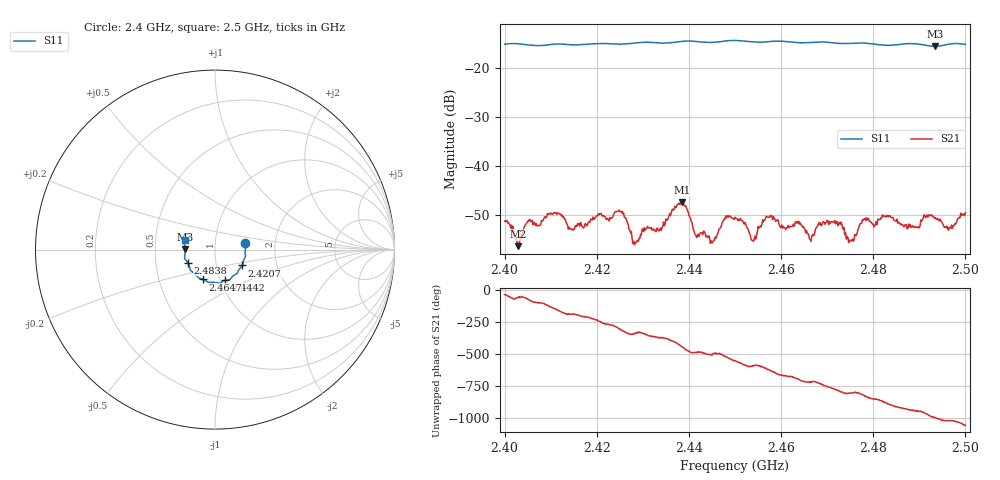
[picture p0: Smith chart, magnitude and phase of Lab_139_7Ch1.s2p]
# Hz S RI R 50
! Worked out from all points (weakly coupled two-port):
!   601 points, 2.4 GHz to 2.5 GHz, reference 50 ohm
!   highest |S21| = -47.44 dB at 2.4385 GHz (marker M1); lowest = -56.4 dB at 2.403 GHz (marker M2)
!   lowest |S11| = -15.6 dB at 2.4935 GHz (marker M3), VSWR 1.40, Z = 35.8 + j0.141 ohm
!   |S11| at or under -10 dB: start of sweep to end of sweep
!   S12 and S22 are empty: the file has one direction only
!   S11 on the Smith chart (normalised r, x): 2.4 GHz: 1.40, +0.11; 2.4207 GHz: 1.33, -0.24; 2.4442 GHz: 1.05, -0.37; 2.4647 GHz: 0.83, -0.29; 2.4838 GHz: 0.73, -0.11; 2.5 GHz: 0.71, +0.08
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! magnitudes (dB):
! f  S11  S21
! 2.4 GHz  -15.2  -51.3
! 2.403 GHz  -15.2  -56.4
! 2.4098 GHz  -15.3  -49.8
! 2.4167 GHz  -15.3  -52.0
! 2.4207 GHz  -15.1  -49.7
! 2.4253 GHz  -15.2  -49.4
! 2.4283 GHz  -15.0  -55.7
! 2.4333 GHz  -15.0  -53.2
! 2.4385 GHz  -14.6  -47.4
! 2.4442 GHz  -14.9  -54.6
! 2.45 GHz  -14.5  -50.5
! 2.454 GHz  -14.8  -55.4
! 2.4572 GHz  -14.7  -50.5
! 2.4647 GHz  -14.9  -52.5
! 2.4667 GHz  -14.9  -54.3
! 2.4717 GHz  -15.0  -51.2
! 2.4752 GHz  -15.1  -55.3
! 2.4782 GHz  -15.0  -51.0
! 2.4833 GHz  -15.5  -50.4
! 2.4838 GHz  -15.4  -50.5
! 2.4935 GHz  -15.6  -50.5
! 2.5 GHz  -15.2  -49.5
